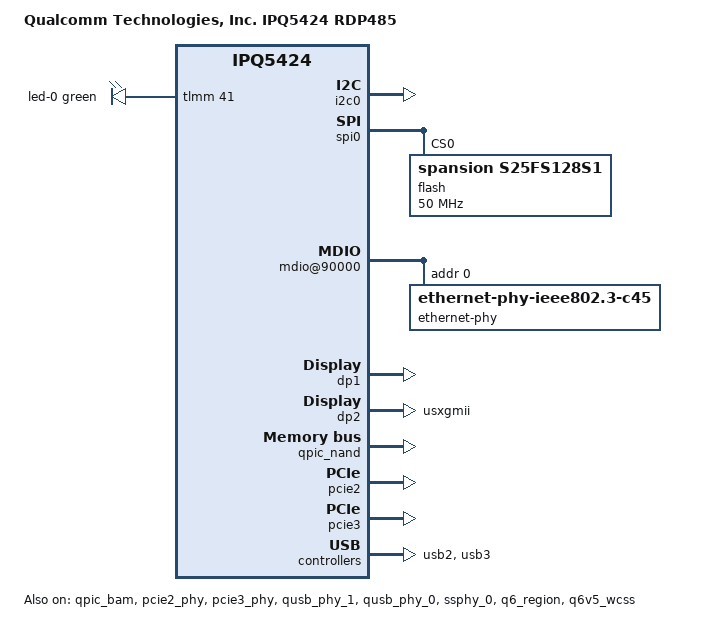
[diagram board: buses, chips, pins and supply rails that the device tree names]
// SPDX-License-Identifier: (GPL-2.0+ OR BSD-3-Clause)
/*
 * IPQ5424 RDP485 board device tree source
 *
 * Copyright (c) 2020-2021 The Linux Foundation. All rights reserved.
 * Copyright (c) 2022-2024 Qualcomm Innovation Center, Inc. All rights reserved.
 */

/dts-v1/;

#include "ipq5424-rdp-common.dtsi"

/ {
	model = "Qualcomm Technologies, Inc. IPQ5424 RDP485";
	compatible = "qcom,ipq5424-rdp485", "qcom,ipq5424";

	soc@0 {
		qupv3: geniqup@1ac0000 {

			i2c0: i2c@1a88000 {
				pinctrl-0 = <&qup_i2c0_default>;
				pinctrl-names = "default";
				status = "okay";
			};

			spi0: spi@1a90000 {
				pinctrl-0 = <&qup_spi0_default>;
				pinctrl-names = "default";
				status = "okay";

				flash@0 {
					compatible = "spansion,s25fs128s1", "jedec,spi-nor";
					#address-cells = <1>;
					#size-cells = <1>;
					reg = <0>;
					spi-max-frequency = <50000000>;
				};
			};
		};

		leds {
			compatible = "gpio-leds";
			pinctrl-0 = <&gpio_leds_default>;
			pinctrl-names = "default";

			led-0 {
				color = <LED_COLOR_ID_GREEN>;
				function = LED_FUNCTION_WLAN;
				gpios = <&tlmm 41 GPIO_ACTIVE_HIGH>;
				linux,default-trigger = "phy0tx";
				default-state = "off";
			};
		};

		mdio@90000 {
			ethernet-phy@4 {
				reg = <0>;
				 compatible ="ethernet-phy-ieee802.3-c45";
			};
		};

		ess-instance {
			ess-switch@3a000000 {
				switch_cpu_bmp = <0x1>;  /* cpu port bitmap */
				switch_lan_bmp = <0xc>; /* lan port bitmap */
				switch_wan_bmp = <0x2>; /* wan port bitmap */
				switch_mac_mode = <0xe>; /* mac mode for uniphy instance0*/
				switch_mac_mode1 = <0xd>; /* mac mode for uniphy instance1*/

				qcom,port_phyinfo {
					port@0 {
						port_id = <1>;
						media-type = "sfp"; /* fiber mode */
						sfp_rx_los_pin = <&tlmm 0xffff GPIO_ACTIVE_HIGH>;
					};
					port@1 {
						port_id = <2>;
						phy_address = <0>;
						ethernet-phy-ieee802.3-c45;
					};
				};
			};

			ess-switch1@1 {
				link-intr-gpio = <&tlmm 41 GPIO_ACTIVE_HIGH>;
			};
		};

		dp1 {
			device_type = "network";
			compatible = "qcom,nss-dp";
			qcom,id = <1>;
			reg = <0x3A500000 0x4000>;
			qcom,mactype = <1>;
			local-mac-address = [000000000000];
		};

		dp2 {
			device_type = "network";
			compatible = "qcom,nss-dp";
			qcom,id = <2>;
			reg = <0x3A504000 0x4000>;
			qcom,mactype = <1>;
			local-mac-address = [000000000000];
			qcom,phy-mdio-addr = <0>;
			qcom,link-poll = <1>;
			phy-mode = "usxgmii";
		};

		/* EDMA host driver configuration for the board */
		edma@3ab00000 {
			qcom,txdesc-ring-start = <4>;		/* Tx desc ring start ID */
			qcom,txdesc-rings = <16>;		/* Total number of Tx desc rings to be provisioned */
			qcom,mht-txdesc-rings = <12>;		/* Extra Tx desc rings to be provisioned for MHT SW ports */
			qcom,txcmpl-ring-start = <4>;		/* Tx complete ring start ID */
			qcom,txcmpl-rings = <16>;		/* Total number of Tx complete rings to be provisioned */
			qcom,mht-txcmpl-rings = <12>;		/* Extra Tx complete rings to be provisioned for mht sw ports. */
			qcom,rxfill-ring-start = <4>;		/* Rx fill ring start ID */
			qcom,rxfill-rings = <4>;		/* Total number of Rx fill rings to be provisioned */
			qcom,rxdesc-ring-start = <20>;		/* Rx desc ring start ID */
			qcom,rxdesc-rings = <4>;		/* Total number of Rx desc rings to be provisioned */
			qcom,rx-page-mode = <0>;		/* Rx fill ring page mode */
			qcom,tx-map-priority-level = <1>;	/* Tx priority level per port */
			qcom,rx-map-priority-level = <1>;	/* Rx priority level per core */
			qcom,ppeds-num = <4>;			/* Number of PPEDS nodes */
			/* PPE-DS node format: <Rx-fill Tx-cmpl Rx Tx Queue-base Queue-count> */
			qcom,ppeds-map = <1 1 1 1 32 8>,	/* PPEDS Node #0 ring and queue map */
					<2 2 2 2 40 8>,		/* PPEDS Node #1 ring and queue map */
					<3 3 3 3 48 8>,		/* PPEDS Node #2 ring and queue map */
					<0 0 0 0 56 8>;		/* PPEDS Node #3 ring and queue map */
			qcom,txdesc-map = <4 5 6 7>,		/* Port1 per-core Tx ring map */
					<8 9 10 11>,		/* Port2 per-core Tx ring map */
					<12 13 14 15>,		/* MHT-Port1 per-core Tx ring map */
					<16 17 18 19>,		/* MHT-Port2 per-core Tx ring map */
					<20 21 22 23>,		/* MHT-Port3 per-core Tx ring map */
					<24 25 26 27>,		/* MHT-Port4 per-core Tx ring map */
					<28 29 30 31>;		/* Used only for packets from VP */
			qcom,txdesc-fc-grp-map = <1 2 3 4 5 6>;	/* Per GMAC flow control group map */
			qcom,rxfill-map = <4 5 6 7>;		/* Per-core Rx fill ring map */
			qcom,rxdesc-map = <20 21 22 23>;	/* Per-core Rx desc ring map */
			qcom,rx-queue-start = <0>;		/* Rx queue start */
			qcom,rx-ring-queue-map = <0 8 16 24>,	/* Priority 0 queues per-core Rx ring map */
						<1 9 17 25>,	/* Priority 1 queues per-core Rx ring map */
						<2 10 18 26>,	/* Priority 2 queues per-core Rx ring map */
						<3 11 19 27>,	/* Priority 3 queues per-core Rx ring map */
						<4 12 20 28>,	/* Priority 4 queues per-core Rx ring map */
						<5 13 21 29>,	/* Priority 5 queues per-core Rx ring map */
						<6 14 22 30>,	/* Priority 6 queues per-core Rx ring map */
						<7 15 23 31>;	/* Priority 7 queues per-core Rx ring map */
			interrupts = <0 286 4>,			/* Tx complete ring id #4 IRQ info */
					<0 287 4>,		/* Tx complete ring id #5 IRQ info */
					<0 288 4>,		/* Tx complete ring id #6 IRQ info */
					<0 289 4>,		/* Tx complete ring id #7 IRQ info */
					<0 290 4>,		/* Tx complete ring id #8 IRQ info */
					<0 291 4>,		/* Tx complete ring id #9 IRQ info */
					<0 292 4>,		/* Tx complete ring id #10 IRQ info */
					<0 293 4>,		/* Tx complete ring id #11 IRQ info */
					<0 294 4>,		/* Tx complete ring id #12 IRQ info */
					<0 295 4>,		/* Tx complete ring id #13 IRQ info */
					<0 296 4>,		/* Tx complete ring id #14 IRQ info */
					<0 297 4>,		/* Tx complete ring id #15 IRQ info */
					<0 298 4>,		/* Tx complete ring id #16 IRQ info */
					<0 299 4>,		/* Tx complete ring id #17 IRQ info */
					<0 300 4>,		/* Tx complete ring id #18 IRQ info */
					<0 301 4>,		/* Tx complete ring id #19 IRQ info */
					<0 270 4>,		/* Rx desc ring id #20 IRQ info */
					<0 271 4>,		/* Rx desc ring id #21 IRQ info */
					<0 272 4>,		/* Rx desc ring id #22 IRQ info */
					<0 273 4>,		/* Rx desc ring id #23 IRQ info */
					<0 314 4>,		/* Misc error IRQ info */
					<0 283 4>,		/* PPEDS Node #0(TxComp ring id #1) TxComplete IRQ info */
					<0 251 4>,		/* PPEDS Node #0(Rx Desc ring id #1) Rx Desc IRQ info */
					<0 275 4>,		/* PPEDS Node #0(RxFill Desc ring id #1) Rx Fill IRQ info */
					<0 284 4>,		/* PPEDS Node #1(TxComp ring id #2) TxComplete IRQ info */
					<0 252 4>,		/* PPEDS Node #1(Rx Desc ring id #2) Rx Desc IRQ info */
					<0 276 4>,		/* PPEDS Node #1(RxFill Desc ring id #2) Rx Fill IRQ info */
					<0 285 4>,		/* PPEDS Node #2(TxComp ring id #3) TxComplete IRQ info */
                                        <0 253 4>,		/* PPEDS Node #2(Rx Desc ring id #3) Rx Desc IRQ info */
                                        <0 277 4>,		/* PPEDS Node #2(RxFill Desc ring id #3) Rx Fill IRQ info */
					<0 282 4>,		/* PPEDS Node #3(TxComp ring id #0) TxComplete IRQ info */
					<0 250 4>,		/* PPEDS Node #3(Rx Desc ring id #0) Rx Desc IRQ info */
					<0 274 4>,		/* PPEDS Node #3(RxFill Desc ring id #0) Rx Fill IRQ info */
					<0 302 4>,		/* MHT port Tx complete ring id #20 IRQ info */
                                        <0 303 4>,		/* MHT port Tx complete ring id #21 IRQ info */
                                        <0 304 4>,		/* MHT port Tx complete ring id #22 IRQ info */
                                        <0 305 4>,		/* MHT port Tx complete ring id #23 IRQ info */
					<0 306 4>,		/* MHT port Tx complete ring id #24 IRQ info */
					<0 307 4>,		/* MHT port Tx complete ring id #25 IRQ info */
					<0 308 4>,		/* MHT port Tx complete ring id #26 IRQ info */
					<0 309 4>,		/* MHT port Tx complete ring id #27 IRQ info */
					<0 310 4>,		/* MHT port Tx complete ring id #28 IRQ info */
					<0 311 4>,		/* MHT port Tx complete ring id #29 IRQ info */
					<0 312 4>,		/* MHT port Tx complete ring id #30 IRQ info */
					<0 313 4>;		/* MHT port Tx complete ring id #31 IRQ info */
		};
	};
};

&qpic_bam {
	status = "okay";
};

&qpic_nand {
	status = "okay";
};

&pcie2_phy {
	status = "okay";
};

&pcie2 {
	status = "okay";

	pcie2_rp {
		reg = <0 0 0 0 0>;

		qcom,mhi@2 {
			reg = <0 0 0 0 0>;
		};
	};
};

&pcie3_phy {
	status = "okay";
};

&pcie3 {
	status = "okay";

	pcie3_rp {
		reg = <0 0 0 0 0>;

		qcom,mhi@3 {
			reg = <0 0 0 0 0>;
		};
	};
};

&qusb_phy_1 {
	status = "okay";
};

&usb2 {
	status = "okay";
};

&qusb_phy_0 {
	status = "okay";
};

&ssphy_0 {
	status = "okay";
};

&usb3 {
	status = "okay";
};

&q6_region {
	status = "okay";
};

&q6v5_wcss {
	status = "okay";
};

&tlmm {
	gpio_leds_default: gpio-leds-default-state {
		pins = "gpio41";
		function = "gpio";
		drive-strength = <8>;
		bias-pull-down;
	};
};
